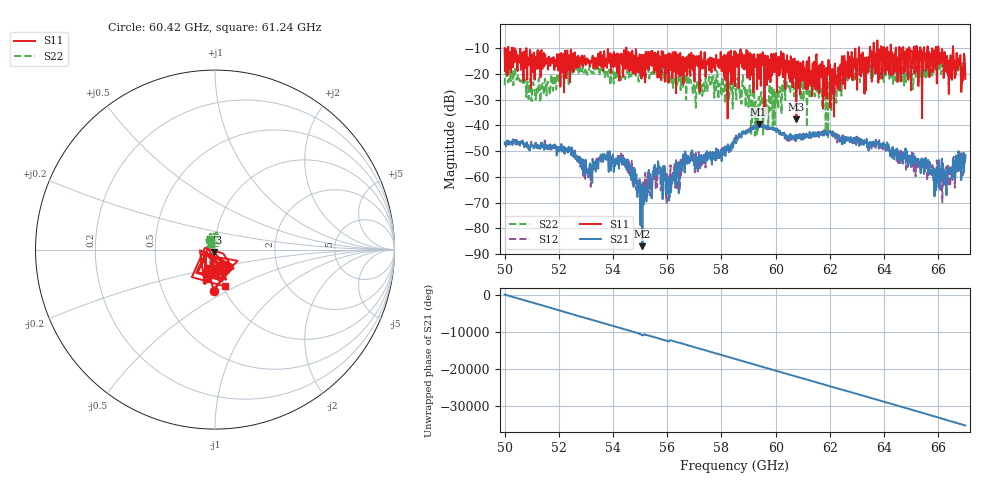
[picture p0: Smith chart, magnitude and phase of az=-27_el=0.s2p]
!Created with skrf (http://scikit-rf.org).
# GHz S RI R 50.0
!freq ReS11 ImS11 ReS21 ImS21 ReS12 ImS12 ReS22 ImS22
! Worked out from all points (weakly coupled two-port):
!   1001 points, 50 GHz to 67 GHz, reference 50 ohm
!   highest |S21| = -39.41 dB at 59.37 GHz (marker M1); lowest = -86.9 dB at 55.08 GHz (marker M2)
!   lowest |S11| = -37.5 dB at 60.76 GHz (marker M3), VSWR 1.03, Z = 49.6 - j1.26 ohm
!   |S11| at or under -10 dB: 50.8 GHz to 54.49 GHz (3.687 GHz wide, 7 % of centre); 54.49 GHz to 63.07 GHz (8.582 GHz wide, 14.6 % of centre); 66.01 GHz to 66.54 GHz (533.3 MHz wide, 0.805 % of centre) (the widest 3 of 28)
!   |S22| runs from -44.6 to -14.0 dB; largest |S21 - S12| = 0.0023
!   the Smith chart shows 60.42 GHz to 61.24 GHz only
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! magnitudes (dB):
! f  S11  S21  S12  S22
! 50 GHz  -10.0  -46.5  -47.4  -24.4
! 50.42 GHz  -13.1  -45.9  -45.5  -21.9
! 51.07 GHz  -11.6  -48.9  -48.2  -24.3
! 52.38 GHz  -12.7  -49.1  -48.7  -20.5
! 52.84 GHz  -13.5  -56.6  -56.3  -19.0
! 53.03 GHz  -13.9  -58.1  -58.2  -19.2
! 53.57 GHz  -17.1  -53.4  -54.2  -16.9
! 54.34 GHz  -16.4  -54.5  -55.2  -19.7
! 55.08 GHz  -12.6  -86.9  -69.7  -19.9
! 55.68 GHz  -13.5  -54.9  -59.5  -21.8
! 56.1 GHz  -18.1  -62.8  -65.5  -21.1
! 56.66 GHz  -13.7  -50.0  -52.4  -20.5
! 58.5 GHz  -24.7  -45.5  -44.9  -24.3
! 59.37 GHz  -14.7  -39.4  -39.5  -29.2
! 60.76 GHz  -37.5  -44.0  -44.2  -29.0
! 61.34 GHz  -28.6  -44.0  -43.4  -25.4
! 61.88 GHz  -29.5  -43.4  -43.7  -23.2
! 62.6 GHz  -18.4  -45.4  -44.0  -19.0
! 64.18 GHz  -19.3  -47.9  -49.1  -18.7
! 65.93 GHz  -11.5  -57.1  -59.7  -14.9
! 66.18 GHz  -12.4  -60.1  -62.0  -17.2
! 67 GHz  -21.9  -51.4  -53.0  -15.8
